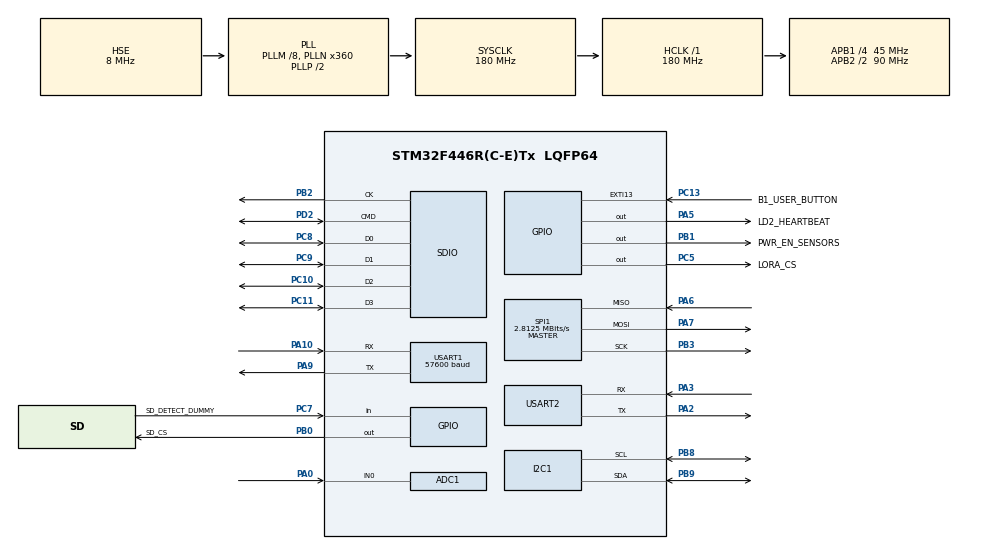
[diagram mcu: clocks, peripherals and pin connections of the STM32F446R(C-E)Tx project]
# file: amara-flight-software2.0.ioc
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ADC1.Channel-2\#ChannelRegularConversion=ADC_CHANNEL_VREFINT
ADC1.Channel-3\#ChannelRegularConversion=ADC_CHANNEL_TEMPSENSOR
ADC1.Channel-4\#ChannelRegularConversion=ADC_CHANNEL_0
ADC1.ContinuousConvMode=ENABLE
ADC1.DMAContinuousRequests=ENABLE
ADC1.EOCSelection=ADC_EOC_SEQ_CONV
ADC1.NbrOfConversion=3
ADC1.NbrOfConversionFlag=1
ADC1.Rank-2\#ChannelRegularConversion=1
ADC1.Rank-3\#ChannelRegularConversion=2
ADC1.Rank-4\#ChannelRegularConversion=3
ADC1.SamplingTime-2\#ChannelRegularConversion=ADC_SAMPLETIME_480CYCLES
ADC1.SamplingTime-3\#ChannelRegularConversion=ADC_SAMPLETIME_480CYCLES
ADC1.SamplingTime-4\#ChannelRegularConversion=ADC_SAMPLETIME_84CYCLES
ADC1.ScanConvMode=ENABLE
ADC1.master=1
Dma.ADC1.5.Direction=DMA_PERIPH_TO_MEMORY
Dma.ADC1.5.FIFOMode=DMA_FIFOMODE_DISABLE
Dma.ADC1.5.Instance=DMA2_Stream0
Dma.ADC1.5.MemDataAlignment=DMA_MDATAALIGN_HALFWORD
Dma.ADC1.5.MemInc=DMA_MINC_ENABLE
Dma.ADC1.5.Mode=DMA_CIRCULAR
Dma.ADC1.5.PeriphDataAlignment=DMA_PDATAALIGN_HALFWORD
Dma.ADC1.5.PeriphInc=DMA_PINC_DISABLE
Dma.ADC1.5.Priority=DMA_PRIORITY_LOW
Dma.I2C1_RX.2.Direction=DMA_PERIPH_TO_MEMORY
Dma.I2C1_RX.2.FIFOMode=DMA_FIFOMODE_DISABLE
Dma.I2C1_RX.2.Instance=DMA1_Stream0
Dma.I2C1_RX.2.MemDataAlignment=DMA_MDATAALIGN_BYTE
Dma.I2C1_RX.2.MemInc=DMA_MINC_ENABLE
Dma.I2C1_RX.2.Mode=DMA_NORMAL
Dma.I2C1_RX.2.PeriphDataAlignment=DMA_PDATAALIGN_BYTE
Dma.I2C1_RX.2.PeriphInc=DMA_PINC_DISABLE
Dma.I2C1_RX.2.Priority=DMA_PRIORITY_MEDIUM
Dma.Request0=USART1_RX
Dma.Request1=USART1_TX
Dma.Request2=I2C1_RX
Dma.Request3=SPI1_RX
Dma.Request4=SPI1_TX
Dma.Request5=ADC1
Dma.Request6=USART2_TX
Dma.SPI1_RX.3.Direction=DMA_PERIPH_TO_MEMORY
Dma.SPI1_RX.3.FIFOMode=DMA_FIFOMODE_DISABLE
Dma.SPI1_RX.3.Instance=DMA2_Stream2
Dma.SPI1_RX.3.MemDataAlignment=DMA_MDATAALIGN_BYTE
Dma.SPI1_RX.3.MemInc=DMA_MINC_ENABLE
Dma.SPI1_RX.3.Mode=DMA_NORMAL
Dma.SPI1_RX.3.PeriphDataAlignment=DMA_PDATAALIGN_BYTE
Dma.SPI1_RX.3.PeriphInc=DMA_PINC_DISABLE
Dma.SPI1_RX.3.Priority=DMA_PRIORITY_HIGH
Dma.SPI1_TX.4.Direction=DMA_MEMORY_TO_PERIPH
Dma.SPI1_TX.4.FIFOMode=DMA_FIFOMODE_DISABLE
Dma.SPI1_TX.4.Instance=DMA2_Stream3
Dma.SPI1_TX.4.MemDataAlignment=DMA_MDATAALIGN_BYTE
Dma.SPI1_TX.4.MemInc=DMA_MINC_ENABLE
Dma.SPI1_TX.4.Mode=DMA_NORMAL
Dma.SPI1_TX.4.PeriphDataAlignment=DMA_PDATAALIGN_BYTE
Dma.SPI1_TX.4.PeriphInc=DMA_PINC_DISABLE
Dma.SPI1_TX.4.Priority=DMA_PRIORITY_HIGH
Dma.USART1_RX.0.Direction=DMA_PERIPH_TO_MEMORY
Dma.USART1_RX.0.FIFOMode=DMA_FIFOMODE_DISABLE
Dma.USART1_RX.0.Instance=DMA2_Stream5
Dma.USART1_RX.0.MemDataAlignment=DMA_MDATAALIGN_BYTE
Dma.USART1_RX.0.MemInc=DMA_MINC_ENABLE
Dma.USART1_RX.0.Mode=DMA_CIRCULAR
Dma.USART1_RX.0.PeriphDataAlignment=DMA_PDATAALIGN_BYTE
Dma.USART1_RX.0.PeriphInc=DMA_PINC_DISABLE
Dma.USART1_RX.0.Priority=DMA_PRIORITY_VERY_HIGH
Dma.USART1_TX.1.Direction=DMA_MEMORY_TO_PERIPH
Dma.USART1_TX.1.FIFOMode=DMA_FIFOMODE_DISABLE
Dma.USART1_TX.1.Instance=DMA2_Stream7
Dma.USART1_TX.1.MemDataAlignment=DMA_MDATAALIGN_BYTE
Dma.USART1_TX.1.MemInc=DMA_MINC_ENABLE
Dma.USART1_TX.1.Mode=DMA_NORMAL
Dma.USART1_TX.1.PeriphDataAlignment=DMA_PDATAALIGN_BYTE
Dma.USART1_TX.1.PeriphInc=DMA_PINC_DISABLE
Dma.USART1_TX.1.Priority=DMA_PRIORITY_LOW
Dma.USART2_TX.6.Direction=DMA_MEMORY_TO_PERIPH
Dma.USART2_TX.6.FIFOMode=DMA_FIFOMODE_DISABLE
Dma.USART2_TX.6.Instance=DMA1_Stream6
Dma.USART2_TX.6.MemDataAlignment=DMA_MDATAALIGN_BYTE
Dma.USART2_TX.6.MemInc=DMA_MINC_ENABLE
Dma.USART2_TX.6.Mode=DMA_NORMAL
Dma.USART2_TX.6.PeriphDataAlignment=DMA_PDATAALIGN_BYTE
Dma.USART2_TX.6.PeriphInc=DMA_PINC_DISABLE
Dma.USART2_TX.6.Priority=DMA_PRIORITY_LOW
FATFS.BSP.number=1
FATFS._CODE_PAGE=437
FATFS._USE_LFN=3
FATFS0.BSP.STBoard=false
FATFS0.BSP.api=Unknown
FATFS0.BSP.instance=PC7
FATFS0.BSP.ip=GPIO
FATFS0.BSP.mode=Input
FATFS0.BSP.name=Detect_SDIO
FATFS0.BSP.solution=PC7
FREERTOS.Mutexes01=ConsoleMutex,Dynamic,NULL,Available;StorageMutex,Dynamic,NULL,Available
FREERTOS.Tasks01=CommTask,24,384,StartCommTask,Default,NULL,Dynamic,NULL,NULL;TelemetryRadioTask,24,384,StartTelemetryRadioTask,Default,NULL,Dynamic,NULL,NULL;HealthPowerTask,32,384,StartHealthPowerTask,Default,NULL,Dynamic,NULL,NULL;StorageLogTask,16,512,StartStorageLogTask,Default,NULL,Dynamic,NULL,NULL
FREERTOS.configCHECK_FOR_STACK_OVERFLOW=2
FREERTOS.configMAX_TASK_NAME_LEN=20
FREERTOS.configTOTAL_HEAP_SIZE=49152
FREERTOS.configUSE_NEWLIB_REENTRANT=1
I2C1.I2C_Mode=I2C_Fast
I2C1.NoStretchMode=I2C_NOSTRETCH_DISABLE
IWDG.Prescaler=IWDG_PRESCALER_64
IWDG.Reload=2048
Mcu.Family=STM32F4
Mcu.Name=STM32F446R(C-E)Tx
Mcu.Package=LQFP64
NVIC.DMA1_Stream0_IRQn=true\:5\:0\:false\:false\:true\:true\:false\:true\:true
NVIC.DMA1_Stream6_IRQn=true\:5\:0\:false\:false\:true\:true\:false\:true\:true
NVIC.DMA2_Stream0_IRQn=true\:8\:0\:true\:false\:true\:true\:false\:true\:true
NVIC.DMA2_Stream2_IRQn=true\:5\:0\:false\:false\:true\:true\:false\:true\:true
NVIC.DMA2_Stream3_IRQn=true\:5\:0\:false\:false\:true\:true\:false\:true\:true
NVIC.DMA2_Stream5_IRQn=true\:5\:0\:true\:false\:true\:true\:false\:true\:true
NVIC.DMA2_Stream7_IRQn=true\:5\:0\:false\:false\:true\:true\:false\:true\:true
NVIC.EXTI15_10_IRQn=true\:10\:0\:true\:false\:true\:true\:true\:true\:true
NVIC.I2C1_ER_IRQn=true\:8\:0\:true\:false\:true\:true\:true\:true\:true
NVIC.I2C1_EV_IRQn=true\:8\:0\:true\:false\:true\:true\:true\:true\:true
NVIC.PriorityGroup=NVIC_PRIORITYGROUP_4
NVIC.SPI1_IRQn=true\:7\:0\:true\:false\:true\:true\:true\:true\:true
NVIC.TIM1_UP_TIM10_IRQn=true\:15\:0\:true\:false\:true\:false\:false\:true\:true
NVIC.TIM2_IRQn=true\:5\:0\:false\:false\:true\:true\:true\:true\:true
NVIC.TimeBase=TIM1_UP_TIM10_IRQn
NVIC.TimeBaseIP=TIM1
NVIC.USART1_IRQn=true\:5\:0\:true\:false\:true\:true\:true\:true\:true
NVIC.USART2_IRQn=true\:5\:0\:false\:false\:true\:true\:true\:true\:true
PA0-WKUP.Signal=ADCx_IN0
PA10.Mode=Asynchronous
PA10.Signal=USART1_RX
PA13.Mode=Serial_Wire
PA13.Signal=SYS_JTMS-SWDIO
PA14.Mode=Serial_Wire
PA14.Signal=SYS_JTCK-SWCLK
PA2.Mode=Asynchronous
PA2.Signal=USART2_TX
PA3.Mode=Asynchronous
PA3.Signal=USART2_RX
PA5.GPIO_Label=LD2_HEARTBEAT
PA5.PinState=GPIO_PIN_RESET
PA5.Signal=GPIO_Output
PA6.Mode=Full_Duplex_Master
PA6.Signal=SPI1_MISO
PA7.Mode=Full_Duplex_Master
PA7.Signal=SPI1_MOSI
PA9.Mode=Asynchronous
PA9.Signal=USART1_TX
PB0.GPIO_Label=SD_CS
PB0.GPIO_PuPd=GPIO_PULLUP
PB0.GPIO_Speed=GPIO_SPEED_FREQ_HIGH
PB0.PinState=GPIO_PIN_SET
PB0.Signal=GPIO_Output
PB1.GPIO_Label=PWR_EN_SENSORS
PB1.GPIO_PuPd=GPIO_PULLDOWN
PB1.Signal=GPIO_Output
PB2.Mode=SD_4_bits_Wide_bus
PB2.Signal=SDIO_CK
PB3.Mode=Full_Duplex_Master
PB3.Signal=SPI1_SCK
PB8.Mode=I2C
PB8.Signal=I2C1_SCL
PB9.Mode=I2C
PB9.Signal=I2C1_SDA
PC10.Mode=SD_4_bits_Wide_bus
PC10.Signal=SDIO_D2
PC11.Mode=SD_4_bits_Wide_bus
PC11.Signal=SDIO_D3
PC13.GPIO_Label=B1_USER_BUTTON
PC13.GPIO_PuPd=GPIO_PULLUP
PC13.Signal=GPXTI13
PC14-OSC32_IN.Mode=LSE-External-Oscillator
PC14-OSC32_IN.Signal=RCC_OSC32_IN
PC15-OSC32_OUT.Mode=LSE-External-Oscillator
PC15-OSC32_OUT.Signal=RCC_OSC32_OUT
PC5.GPIO_Label=LORA_CS
PC5.Signal=GPIO_Output
PC7.GPIO_Label=SD_DETECT_DUMMY
PC7.Signal=GPIO_Input
PC8.Mode=SD_4_bits_Wide_bus
PC8.Signal=SDIO_D0
PC9.Mode=SD_4_bits_Wide_bus
PC9.Signal=SDIO_D1
PD2.Mode=SD_4_bits_Wide_bus
PD2.Signal=SDIO_CMD
PH0-OSC_IN.Mode=HSE-External-Oscillator
PH0-OSC_IN.Signal=RCC_OSC_IN
PH1-OSC_OUT.Mode=HSE-External-Oscillator
PH1-OSC_OUT.Signal=RCC_OSC_OUT
ProjectManager.HeapSize=0x200
ProjectManager.StackSize=0x400
ProjectManager.TargetToolchain=STM32CubeIDE
RCC.48MHZClocksFreq_Value=84000000
RCC.AHBFreq_Value=180000000
RCC.APB1CLKDivider=RCC_HCLK_DIV4
RCC.APB1Freq_Value=45000000
RCC.APB1TimFreq_Value=90000000
RCC.APB2CLKDivider=RCC_HCLK_DIV2
RCC.APB2Freq_Value=90000000
RCC.APB2TimFreq_Value=180000000
RCC.CortexFreq_Value=180000000
RCC.FLatency-AdvancedSettings=FLASH_LATENCY_5
RCC.HCLKFreq_Value=180000000
RCC.HSE_VALUE=8000000
RCC.HSI_VALUE=16000000
RCC.PLLM=8
RCC.PLLN=360
RCC.PLLQ=7
RCC.PLLR=7
RCC.PLLSAIM=8
RCC.PLLSAIP=RCC_PLLSAIP_DIV4
RCC.PLLSourceVirtual=RCC_PLLSOURCE_HSE
RCC.RCC_RTC_Clock_SourceVirtual=RCC_RTCCLKSOURCE_LSE
RCC.SYSCLKFreq_VALUE=180000000
RCC.SYSCLKSource=RCC_SYSCLKSOURCE_PLLCLK
RCC.USBCLockSelection=RCC_CLK48CLKSOURCE_PLLSAIP
RCC.USBFreq_Value=48000000
RCC.VCOOutputFreq_Value=360000000
SH.ADCx_IN0.0=ADC1_IN0,IN0
SPI1.BaudRatePrescaler=SPI_BAUDRATEPRESCALER_32
SPI1.CalculateBaudRate=2.8125 MBits/s
SPI1.Direction=SPI_DIRECTION_2LINES
SPI1.Mode=SPI_MODE_MASTER
SPI1.VirtualType=VM_MASTER
TIM2.AutoReloadPreload=TIM_AUTORELOAD_PRELOAD_ENABLE
TIM2.Prescaler=89
USART1.BaudRate=57600
USART1.VirtualMode=VM_ASYNC
USART2.VirtualMode=VM_ASYNC
VP_ADC1_TempSens_Input.Mode=IN-TempSens
VP_ADC1_Vref_Input.Mode=IN-Vrefint
VP_CRC_VS_CRC.Mode=CRC_Activate
VP_FATFS_VS_SDIO.Mode=SDIO
VP_FREERTOS_VS_CMSIS_V2.Mode=CMSIS_V2
VP_IWDG_VS_IWDG.Mode=IWDG_Activate
VP_RTC_VS_RTC_Activate.Mode=RTC_Enabled
VP_RTC_VS_RTC_Calendar.Mode=RTC_Calendar
VP_SYS_VS_tim1.Mode=TIM1
VP_TIM2_VS_ClockSourceINT.Mode=Internal
board=NUCLEO-F446RE

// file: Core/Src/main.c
/* USER CODE BEGIN Header */
/**
  ******************************************************************************
  * @file           : main.c
  * @brief          : Main program body
  ******************************************************************************
  * @attention
  *
  * Copyright (c) 2026 STMicroelectronics.
  * All rights reserved.
  *
  * This software is licensed under terms that can be found in the LICENSE file
  * in the root directory of this software component.
  * If no LICENSE file comes with this software, it is provided AS-IS.
  *
  ******************************************************************************
  */
/* USER CODE END Header */
#include "main.h"
#include "cmsis_os.h"
#include "adc.h"
#include "crc.h"
#include "dma.h"
#include "fatfs.h"
#include "i2c.h"
#include "iwdg.h"
#include "rtc.h"
#include "sdio.h"
#include "spi.h"
#include "tim.h"
#include "usart.h"
#include "gpio.h"

/* USER CODE BEGIN Includes */
#include <stdbool.h>
#include "Telemetry.h"
#include "ADC_Monitor.h"
#include "Logger.h"
#include "SPI_Bus.h"
#include "Ring_Buffer.h"
#include "UART_Driver.h"
#include "Command_Parser.h"
#include "I2C_Bus.h"
#include "OLED_Display.h"
#include "SX1278.h"
#include "G2S_Link.h"
#include "IPMS.h"
#include "Runtime_Resources.h"
#include "Runtime_State.h"
#include "System_Runtime.h"
/* USER CODE END Includes */

void SystemClock_Config(void);
void MX_FREERTOS_Init(void);
/* USER CODE BEGIN PFP */
void RTOS_NotifyCommTaskRxFromISR(void);

/* USER CODE END PFP */

  /**
   * @brief  Perform one-time board bring-up and hand control to the RTOS runtime.
   *
   * This function is the firmware boot boundary. It performs HAL startup, clock and
   * peripheral initialization, binds the shared runtime resource and hook structures,
   * initializes project-owned modules such as UART transport, telemetry, IPMS, radio,
   * ADC monitoring, and OLED support, then creates RTOS objects and starts the
   * scheduler. After osKernelStart() succeeds, periodic behavior is task-owned rather
   * than being driven from main().
   *
   * @retval int Unused. Execution is expected to remain under scheduler control.
   */
int main(void)
{

  /* MCU Configuration--------------------------------------------------------*/

  /* Reset of all peripherals, Initializes the Flash interface and the Systick. */
  HAL_Init();

  /* Configure the system clock */
  SystemClock_Config();

  /* Initialize all configured peripherals */
  MX_GPIO_Init();
  MX_DMA_Init();
  MX_SDIO_SD_Init();
  MX_USART1_UART_Init();
  MX_USART2_UART_Init();
  MX_I2C1_Init();
  MX_SPI1_Init();
  MX_ADC1_Init();
  MX_TIM2_Init();
  MX_CRC_Init();
  MX_IWDG_Init();
  MX_RTC_Init();
  MX_FATFS_Init();
  /* USER CODE BEGIN 2 */
  I2C_Bus_Handle_t *i2c_bus;
  OLED_HandleTypeDef *oled;
  SX1278_Handle_t *radio;
  G2S_Link_Handle_t *g2s_link;
  IPMS_Config_t *ipms_config;
  SystemRuntimeContext_t *runtime_context;
  SystemRuntimeHooks_t *runtime_hooks;

  RuntimeResources_Init();
  i2c_bus = RuntimeResources_GetI2CBus();
  oled = RuntimeResources_GetOled();
  radio = RuntimeResources_GetRadio();
  g2s_link = RuntimeResources_GetG2SLink();
  ipms_config = RuntimeResources_GetIpmsConfig();
  runtime_context = RuntimeResources_GetSystemRuntimeContext();
  runtime_hooks = RuntimeResources_GetSystemRuntimeHooks();

  *runtime_hooks = (SystemRuntimeHooks_t){
      .SystemClock_Config = SystemClock_Config,
      .MX_DMA_Init = MX_DMA_Init,
      .MX_USART1_UART_Init = MX_USART1_UART_Init,
      .MX_USART2_UART_Init = MX_USART2_UART_Init,
      .MX_I2C1_Init = MX_I2C1_Init,
      .MX_SPI1_Init = MX_SPI1_Init,
      .MX_ADC1_Init = MX_ADC1_Init,
      .MX_CRC_Init = MX_CRC_Init
  };
  RuntimeState_Init();

  UART_Driver_Status_t uart_status = UART_Driver_Init(&huart2);
  UART_Driver_Status_t telem_uart_status = UART_Driver_InitChannel(UART_DRIVER_CHANNEL_TELEMETRY, &huart1);
  CommandParser_Init();
  ADC_Monitor_Status_t adc_init_status = ADC_Monitor_Init(&hadc1);
  ADC_Monitor_Status_t adc_start_status = ADC_Monitor_Start();
  Telemetry_Init(&hcrc);
  Telemetry_SetDownlinkMode(TELEM_DOWNLINK_RADIO_WITH_UART_MIRROR);
  Telemetry_Status_t boot_telem_status = Telemetry_SendSystemStatusEx(0x01U);
  Telemetry_Status_t boot_event_status = Telemetry_SendEventEx(TELEM_EVENT_BOOT, HAL_GetTick());
  IPMS_GetDefaultConfig(ipms_config);
  IPMS_Status_t ipms_status = IPMS_Init(ipms_config);
  SX1278_Status_t radio_status = SX1278_Init(radio, &hspi1, LORA_CS_GPIO_Port, LORA_CS_Pin, NULL, 0U, false);
  G2S_Status_t g2s_status = G2S_Link_Init(g2s_link, radio, &hcrc);

  I2C_Status_t i2c_bus_status = I2C_Bus_Init(i2c_bus, &hi2c1);
  OLED_Status_t oled_status = OLED_STATUS_INVALID_PARAM;

  runtime_context->hrtc = &hrtc;
  runtime_context->hiwdg = &hiwdg;
  runtime_context->hadc = &hadc1;
  runtime_context->hi2c = &hi2c1;
  runtime_context->hspi = &hspi1;
  runtime_context->console_uart = &huart2;
  runtime_context->telemetry_uart = &huart1;
  runtime_context->i2c_bus = i2c_bus;
  runtime_context->oled = oled;
  runtime_context->radio = radio;

  if (i2c_bus_status == I2C_OK)
  {
    oled_status = OLED_Init(oled, i2c_bus, OLED_I2C_ADDR_0x3C);
    if (oled_status == OLED_STATUS_OK){

      OLED_Clear(oled);
      OLED_SetCursor(oled, 0U, 0U);
      OLED_WriteString(oled, "CubeSat FC", OLED_COLOR_WHITE);
      OLED_SetCursor(oled, 0U, 16U);
      OLED_WriteString(oled, "OLED OK", OLED_COLOR_WHITE);
      OLED_UpdateScreen(oled);

    }
  }

  Logger_Info("Initialization Complete");
  Logger_Info("CLI/Logger UART=USART2 @115200, Telemetry UART=USART1 @57600");
  Logger_Info("Startup status: UART=%s TELEM_UART=%s ADC_INIT=%s ADC_START=%s TELEM_BOOT=%s BOOT_EVT=%s IPMS=%s RADIO=%s G2S=%s I2C=%s OLED=%d",
		  UART_Driver_StatusToString(uart_status),
		  UART_Driver_StatusToString(telem_uart_status),
		  ADC_Monitor_StatusToString(adc_init_status),
		  ADC_Monitor_StatusToString(adc_start_status),
		  Telemetry_StatusToString(boot_telem_status),
		  Telemetry_StatusToString(boot_event_status),
      IPMS_StatusToString(ipms_status),
		  SX1278_StatusToString(radio_status),
		  G2S_StatusToString(g2s_status),
		  I2C_Bus_StatusToString(i2c_bus_status),
		  oled_status);
  Logger_Info("IPMS defaults: warn<=%.2f sleep<=%.2f stop<=%.2f policy=%s sim=%s",
              ipms_config->warn_enter_v,
              ipms_config->sleep_enter_v,
              ipms_config->stop_enter_v,
              IPMS_PolicyModeToString(IPMS_POLICY_MONITOR_ONLY),
              IPMS_SimulationModeToString(IPMS_SIMULATION_AUTO));
  Logger_Info("Telemetry downlink mode: %s", Telemetry_DownlinkModeToString(Telemetry_GetDownlinkMode()));

  /* USER CODE END 2 */

  /* Init scheduler */
  osKernelInitialize();  /* Call init function for freertos objects (in cmsis_os2.c) */
  MX_FREERTOS_Init();

  /* Start scheduler */
  osKernelStart();

  /* We should never get here as control is now taken by the scheduler */

  /* Infinite loop */
  while (1)
  {

    /* USER CODE BEGIN 3 */
    /* Runtime is owned by FreeRTOS tasks after osKernelStart(). */
  }
  /* USER CODE END 3 */
}

void SystemClock_Config(void)
{
  RCC_OscInitTypeDef RCC_OscInitStruct = {0};
  RCC_ClkInitTypeDef RCC_ClkInitStruct = {0};

  /** Configure the main internal regulator output voltage
  */
  __HAL_RCC_PWR_CLK_ENABLE();
  __HAL_PWR_VOLTAGESCALING_CONFIG(PWR_REGULATOR_VOLTAGE_SCALE1);

  /** Initializes the RCC Oscillators according to the specified parameters
  * in the RCC_OscInitTypeDef structure.
  */
  RCC_OscInitStruct.OscillatorType = RCC_OSCILLATORTYPE_LSI|RCC_OSCILLATORTYPE_HSE
                              |RCC_OSCILLATORTYPE_LSE;
  RCC_OscInitStruct.HSEState = RCC_HSE_ON;
  RCC_OscInitStruct.LSEState = RCC_LSE_ON;
  RCC_OscInitStruct.LSIState = RCC_LSI_ON;
  RCC_OscInitStruct.PLL.PLLState = RCC_PLL_ON;
  RCC_OscInitStruct.PLL.PLLSource = RCC_PLLSOURCE_HSE;
  RCC_OscInitStruct.PLL.PLLM = 8;
  RCC_OscInitStruct.PLL.PLLN = 360;
  RCC_OscInitStruct.PLL.PLLP = RCC_PLLP_DIV2;
  RCC_OscInitStruct.PLL.PLLQ = 7;
  RCC_OscInitStruct.PLL.PLLR = 7;
  if (HAL_RCC_OscConfig(&RCC_OscInitStruct) != HAL_OK)
  {
    Error_Handler();
  }

  /** Activate the Over-Drive mode
  */
  if (HAL_PWREx_EnableOverDrive() != HAL_OK)
  {
    Error_Handler();
  }

  /** Initializes the CPU, AHB and APB buses clocks
  */
  RCC_ClkInitStruct.ClockType = RCC_CLOCKTYPE_HCLK|RCC_CLOCKTYPE_SYSCLK
                              |RCC_CLOCKTYPE_PCLK1|RCC_CLOCKTYPE_PCLK2;
  RCC_ClkInitStruct.SYSCLKSource = RCC_SYSCLKSOURCE_PLLCLK;
  RCC_ClkInitStruct.AHBCLKDivider = RCC_SYSCLK_DIV1;
  RCC_ClkInitStruct.APB1CLKDivider = RCC_HCLK_DIV4;
  RCC_ClkInitStruct.APB2CLKDivider = RCC_HCLK_DIV2;

  if (HAL_RCC_ClockConfig(&RCC_ClkInitStruct, FLASH_LATENCY_5) != HAL_OK)
  {
    Error_Handler();
  }
}

/* USER CODE BEGIN 4 */
void HAL_UART_RxCpltCallback(UART_HandleTypeDef *huart)
{
    UART_RxCpltCallback(huart);
    RTOS_NotifyCommTaskRxFromISR();
}

void HAL_ADC_ConvCpltCallback(ADC_HandleTypeDef* hadc)
{
    ADC_Monitor_ConvCpltCallback(hadc);
}

void HAL_UART_TxCpltCallback(UART_HandleTypeDef *huart)
{
    if (huart == &huart1)
    {
        RuntimeState_RecordTelemetryTxComplete();
    }

    UART_TxCpltCallback(huart);
}

void HAL_UART_ErrorCallback(UART_HandleTypeDef *huart)
{
    if (huart == &huart1)
    {
        RuntimeState_RecordTelemetryError();
    }

    UART_ErrorCallback(huart);
}

void HAL_RTCEx_WakeUpTimerEventCallback(RTC_HandleTypeDef *hrtc_handle)
{
    (void)hrtc_handle;
    IPMS_OnRtcWakeup();
}

void HAL_GPIO_EXTI_Callback(uint16_t GPIO_Pin)
{
    if (GPIO_Pin == B1_USER_BUTTON_Pin)
    {
        IPMS_OnButtonWakeup();
    }
}

/* USER CODE END 4 */

void HAL_TIM_PeriodElapsedCallback(TIM_HandleTypeDef *htim)
{
  if (htim->Instance == TIM1)
  {
    HAL_IncTick();
  }
}

void Error_Handler(void)
{
  __disable_irq();
  while (1)
  {
  }
}

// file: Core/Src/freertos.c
/* USER CODE BEGIN Header */
/**
  ******************************************************************************
  * @file              freertos.c
  * @brief             FreeRTOS task creation and runtime task ownership.
  ******************************************************************************
  * @attention
  *
  * Copyright (c) 2026 STMicroelectronics.
  * All rights reserved.
  *
  * This software is licensed under terms that can be found in the LICENSE file
  * in the root directory of this software component.
  * If no LICENSE file comes with this software, it is provided AS-IS.
  *
  ******************************************************************************
  */
/* USER CODE END Header */

#include "FreeRTOS.h"
#include "task.h"
#include "main.h"
#include "cmsis_os.h"

/* USER CODE BEGIN Includes */
#include "Telemetry.h"
#include "ADC_Monitor.h"
#include "Logger.h"
#include "UART_Driver.h"
#include "Command_Parser.h"
#include "G2S_Link.h"
#include "SX1278.h"
#include "IPMS.h"
#include "Runtime_Resources.h"
#include "Storage_Service.h"
#include "Runtime_State.h"
#include "System_Runtime.h"
/* USER CODE END Includes */

/* USER CODE BEGIN PTD */
typedef enum {
    RTOS_TASK_ID_COMM = 0,
    RTOS_TASK_ID_TELEMETRY,
    RTOS_TASK_ID_HEALTH,
    RTOS_TASK_ID_STORAGE,
    RTOS_TASK_ID_COUNT
} RTOS_TaskId_t;

/* USER CODE END PTD */

/* USER CODE BEGIN PD */
#define RTOS_WATCHDOG_STARTUP_GRACE_MS   3000U
#define RTOS_WATCHDOG_COMM_TIMEOUT_MS     250U
#define RTOS_WATCHDOG_TELEM_TIMEOUT_MS    250U
#define RTOS_WATCHDOG_STORAGE_TIMEOUT_MS 1000U
#define RTOS_COMM_WAKE_FLAG            0x00000001U
#define RTOS_COMM_POLL_PERIOD_MS         5U
#define RTOS_TELEMETRY_TASK_PERIOD_MS   10U
#define RTOS_HEALTH_TASK_PERIOD_MS      20U
#define RTOS_TELEMETRY_DETAIL_PERIOD_MS 15000U

/* USER CODE END PD */

/* USER CODE BEGIN Variables */
extern IWDG_HandleTypeDef hiwdg;
static volatile uint32_t g_task_heartbeat_ms[RTOS_TASK_ID_COUNT] = {0U};
static uint32_t g_watchdog_supervision_start_ms = 0U;
static uint32_t g_watchdog_last_fault_mask = 0U;
/* USER CODE END Variables */
/* Definitions for CommTask */
osThreadId_t CommTaskHandle;
const osThreadAttr_t CommTask_attributes = {
  .name = "CommTask",
  .stack_size = 384 * 4,
  .priority = (osPriority_t) osPriorityNormal,
};
/* Definitions for TelemetryRadioTask */
osThreadId_t TelemetryRadioTaskHandle;
const osThreadAttr_t TelemetryRadioTask_attributes = {
  .name = "TelemetryRadioTask",
  .stack_size = 384 * 4,
  .priority = (osPriority_t) osPriorityNormal,
};
/* Definitions for HealthPowerTask */
osThreadId_t HealthPowerTaskHandle;
const osThreadAttr_t HealthPowerTask_attributes = {
  .name = "HealthPowerTask",
  .stack_size = 384 * 4,
  .priority = (osPriority_t) osPriorityAboveNormal,
};
/* Definitions for StorageLogTask */
osThreadId_t StorageLogTaskHandle;
const osThreadAttr_t StorageLogTask_attributes = {
  .name = "StorageLogTask",
  .stack_size = 512 * 4,
  .priority = (osPriority_t) osPriorityBelowNormal,
};
/* Definitions for ConsoleMutex */
osMutexId_t ConsoleMutexHandle;
const osMutexAttr_t ConsoleMutex_attributes = {
  .name = "ConsoleMutex"
};
/* Definitions for StorageMutex */
osMutexId_t StorageMutexHandle;
const osMutexAttr_t StorageMutex_attributes = {
  .name = "StorageMutex"
};

/* USER CODE BEGIN FunctionPrototypes */
static void RTOS_RunCommTaskCycle(void);
static void RTOS_RunTelemetryRadioTaskCycle(void);
static void RTOS_RunHealthPowerTaskCycle(void);
static void RTOS_MarkTaskAlive(RTOS_TaskId_t task_id);
static void RTOS_ResetTaskHeartbeats(uint32_t now);
static bool RTOS_WatchdogCanRefresh(uint32_t now, uint32_t *fault_mask);
static void RTOS_LogWatchdogFaultMask(uint32_t fault_mask);
void RTOS_NotifyCommTaskRxFromISR(void);
/* USER CODE END FunctionPrototypes */

void StartCommTask(void *argument);
void StartTelemetryRadioTask(void *argument);
void StartHealthPowerTask(void *argument);
void StartStorageLogTask(void *argument);

void MX_FREERTOS_Init(void); /* (MISRA C 2004 rule 8.1) */

/* Hook prototypes */
void vApplicationStackOverflowHook(xTaskHandle xTask, signed char *pcTaskName);

/* USER CODE BEGIN 4 */
/**
 * @brief Wake CommTask from ISR context when new UART RX work arrives.
 */
void RTOS_NotifyCommTaskRxFromISR(void)
{
    if ((osKernelGetState() == osKernelRunning) && (CommTaskHandle != NULL))
    {
        (void)osThreadFlagsSet(CommTaskHandle, RTOS_COMM_WAKE_FLAG);
    }
}

/**
 * @brief Record a heartbeat timestamp for one supervised task.
 */
static void RTOS_MarkTaskAlive(RTOS_TaskId_t task_id)
{
    if (task_id < RTOS_TASK_ID_COUNT)
    {
        g_task_heartbeat_ms[task_id] = HAL_GetTick();
    }
}

static void RTOS_ResetTaskHeartbeats(uint32_t now)
{
    uint32_t index;

    for (index = 0U; index < (uint32_t)RTOS_TASK_ID_COUNT; index++)
    {
        g_task_heartbeat_ms[index] = now;
    }

    g_watchdog_supervision_start_ms = now;
    g_watchdog_last_fault_mask = 0U;
}

static bool RTOS_WatchdogCanRefresh(uint32_t now, uint32_t *fault_mask)
{
    uint32_t local_fault_mask = 0U;

    if ((now - g_watchdog_supervision_start_ms) < RTOS_WATCHDOG_STARTUP_GRACE_MS)
    {
        if (fault_mask != NULL)
        {
            *fault_mask = 0U;
        }
        return true;
    }

    if ((now - g_task_heartbeat_ms[RTOS_TASK_ID_COMM]) > RTOS_WATCHDOG_COMM_TIMEOUT_MS)
    {
        local_fault_mask |= (1UL << RTOS_TASK_ID_COMM);
    }

    if ((now - g_task_heartbeat_ms[RTOS_TASK_ID_TELEMETRY]) > RTOS_WATCHDOG_TELEM_TIMEOUT_MS)
    {
        local_fault_mask |= (1UL << RTOS_TASK_ID_TELEMETRY);
    }

    if ((now - g_task_heartbeat_ms[RTOS_TASK_ID_STORAGE]) > RTOS_WATCHDOG_STORAGE_TIMEOUT_MS)
    {
        local_fault_mask |= (1UL << RTOS_TASK_ID_STORAGE);
    }

    if (fault_mask != NULL)
    {
        *fault_mask = local_fault_mask;
    }

    return (local_fault_mask == 0U);
}

static void RTOS_LogWatchdogFaultMask(uint32_t fault_mask)
{
    if ((fault_mask & (1UL << RTOS_TASK_ID_COMM)) != 0U)
    {
        Logger_Error("Watchdog withheld: CommTask heartbeat stale");
    }

    if ((fault_mask & (1UL << RTOS_TASK_ID_TELEMETRY)) != 0U)
    {
        Logger_Error("Watchdog withheld: TelemetryRadioTask heartbeat stale");
    }

    if ((fault_mask & (1UL << RTOS_TASK_ID_STORAGE)) != 0U)
    {
        Logger_Error("Watchdog withheld: StorageLogTask heartbeat stale");
    }
}

/**
 * @brief Run one communication cycle owned by CommTask.
 *
 * This helper keeps command ingress and communication egress tied to the task that
 * reacts to RX wakeups. One cycle services console command parsing, advances one G2S
 * radio receive/ack step, and gives the telemetry module one opportunity to progress
 * a queued frame through its transport state machine.
 */
static void RTOS_RunCommTaskCycle(void)
{
    G2S_Link_Handle_t *g2s_link = RuntimeResources_GetG2SLink();
    Telemetry_Status_t telemetry_status;

    CommandParser_Process();
    (void)G2S_Link_Process(g2s_link);
    telemetry_status = Telemetry_ProcessStep(g2s_link);
    if ((telemetry_status != TELEM_STATUS_OK) &&
        (telemetry_status != TELEM_STATUS_IDLE) &&
        (telemetry_status != TELEM_STATUS_TX_BUSY))
    {
        Logger_Warn("Telemetry transport step: %s", Telemetry_StatusToString(telemetry_status));
    }
}

/**
 * @brief Run one periodic telemetry and radio reporting cycle.
 *
 * This helper is the producer-side scheduler for recurring telemetry work. It does
 * not transmit frames directly; instead it decides when heartbeat, system-status,
 * ADC-health, and radio-health packets should be enqueued so the telemetry transport
 * owner can send them later from CommTask.
 */
static void RTOS_RunTelemetryRadioTaskCycle(void)
{
    static uint32_t last_telem_queue_ms = 0U;
    static uint32_t last_telem_report_ms = 0U;
    static uint32_t last_telem_detail_ms = 0U;
    static uint32_t last_radio_report_ms = 0U;
    static uint8_t telemetry_status_counter = 0U;
    uint32_t now = HAL_GetTick();

    if ((now - last_telem_queue_ms) >= 2000U)
    {
        uint8_t status_code = (uint8_t)(0x10U | (telemetry_status_counter & 0x0FU));
        Telemetry_Status_t queue_status = Telemetry_SendSystemStatusEx(status_code);

        Logger_Info("Telemetry queue attempt: result=%s status=0x%02X",
                    Telemetry_StatusToString(queue_status),
                    status_code);
        telemetry_status_counter++;
        last_telem_queue_ms = now;
    }

    if ((now - last_telem_report_ms) >= 3000U)
    {
        RuntimeTelemetryCounters_t telemetry_counters;
        TelemetryStats_t telem_stats;
        Logger_Stats_t logger_stats;
        Telemetry_Status_t heartbeat_status = Telemetry_SendHeartbeatEx();

        RuntimeState_GetTelemetryCounters(&telemetry_counters);
        Telemetry_GetStats(&telem_stats);
        Logger_GetStats(&logger_stats);

        Logger_Info("Telemetry runtime: dma_tx=%lu dma_err=%lu hb=%s log=%lu/%lu persist_drop=%lu last_uart=%s last_storage=%s",
                    (unsigned long)telemetry_counters.tx_complete_count,
                    (unsigned long)telemetry_counters.error_count,
                    Telemetry_StatusToString(heartbeat_status),
                    (unsigned long)logger_stats.messages_attempted,
                    (unsigned long)logger_stats.messages_dropped,
                    (unsigned long)logger_stats.messages_persist_dropped,
                    UART_Driver_StatusToString(logger_stats.last_uart_status),
                    StorageService_StatusToString(logger_stats.last_storage_status));

        if ((now - last_telem_detail_ms) >= RTOS_TELEMETRY_DETAIL_PERIOD_MS)
        {
            Logger_Info("Telemetry stats: depth=%u/%u peak=%u queued=%lu sent=%lu dropped=%lu tx_busy=%lu tx_err=%lu rtc_fallback=%lu pending=%u last_enq=%s last_proc=%s ts_src=%s mode=%s radio_sent=%lu uart_sent=%lu",
                        (unsigned int)telem_stats.queue_depth,
                        (unsigned int)telem_stats.queue_capacity,
                        (unsigned int)telem_stats.max_queue_depth,
                        (unsigned long)telem_stats.queued_frames,
                        (unsigned long)telem_stats.sent_frames,
                        (unsigned long)telem_stats.dropped_frames,
                        (unsigned long)telem_stats.tx_busy_retries,
                        (unsigned long)telem_stats.transport_errors,
                        (unsigned long)telem_stats.rtc_fallback_count,
                        (unsigned int)telem_stats.frame_pending,
                        Telemetry_StatusToString(telem_stats.last_enqueue_status),
                        Telemetry_StatusToString(telem_stats.last_process_status),
                        SystemRuntime_TelemetryTimestampSourceToString(telem_stats.last_timestamp_source),
                        Telemetry_DownlinkModeToString(telem_stats.downlink_mode),
                        (unsigned long)telem_stats.radio_sent_frames,
                        (unsigned long)telem_stats.uart_sent_frames);
            last_telem_detail_ms = now;
        }
        last_telem_report_ms = now;
    }

    if ((now - last_radio_report_ms) >= 4000U)
    {
        SX1278_Handle_t *radio = RuntimeResources_GetRadio();
        G2S_Link_Handle_t *g2s_link = RuntimeResources_GetG2SLink();
        G2S_Stats_t g2s_stats;
        uint8_t version = 0U;
        SX1278_Status_t version_status = SX1278_ReadVersion(radio, &version);

        G2S_Link_GetStats(g2s_link, &g2s_stats);
        Logger_Info("Radio/G2S: ver=%s/0x%02X mode=%d freq=%luHz rx=%lu tx=%lu crc_fail=%lu cmd=%lu ack=%lu unsupported=%lu cmd_fail=%lu last=%s next_seq=%u last_rx_seq=%u",
                    SX1278_StatusToString(version_status),
                    version,
                    (int)radio->state.mode,
                    (unsigned long)radio->state.frequency_hz,
                    (unsigned long)g2s_stats.rx_packets,
                    (unsigned long)g2s_stats.tx_packets,
                    (unsigned long)g2s_stats.crc_failures,
                    (unsigned long)g2s_stats.command_packets,
                    (unsigned long)g2s_stats.ack_packets,
                    (unsigned long)g2s_stats.unsupported_packets,
                    (unsigned long)g2s_stats.command_failures,
                    G2S_StatusToString(g2s_stats.last_status),
                    (unsigned int)g2s_stats.next_tx_sequence,
                    (unsigned int)g2s_stats.last_rx_sequence);
        last_radio_report_ms = now;
    }
}

/**
 * @brief Run one health, watchdog, ADC, and power-management cycle.
 *
 * This helper is the central runtime health supervisor. Each cycle drains queued
 * IPMS control requests, reports queued IPMS events, snapshots ADC data into runtime
 * state, feeds battery data into the IPMS state machine, emits health telemetry, and
 * either refreshes or withholds the watchdog according to per-task heartbeat
 * supervision. If IPMS arms a low-power action, this cycle also hands it to
 * System_Runtime for actual sleep or stop execution.
 */
static void RTOS_RunHealthPowerTaskCycle(void)
{
    static uint32_t last_heartbeat_ms = 0U;
    static uint32_t last_power_sample_ms = 0U;
    static uint32_t last_adc_report_ms = 0U;
    uint32_t now = HAL_GetTick();
    uint32_t fault_mask = 0U;
    IPMS_ActionRequest_t power_action;
    RuntimeIpmsControlRequest_t ipms_control_request;

    RTOS_MarkTaskAlive(RTOS_TASK_ID_HEALTH);

    if (RTOS_WatchdogCanRefresh(now, &fault_mask))
    {
        HAL_IWDG_Refresh(&hiwdg);
        if (g_watchdog_last_fault_mask != 0U)
        {
            Logger_Info("Watchdog supervision recovered");
            g_watchdog_last_fault_mask = 0U;
        }
    }
    else if (fault_mask != g_watchdog_last_fault_mask)
    {
        RTOS_LogWatchdogFaultMask(fault_mask);
        g_watchdog_last_fault_mask = fault_mask;
    }

    SystemRuntime_ReportIpmsEvents();

    while (RuntimeState_PopIpmsControlRequest(&ipms_control_request))
    {
        if (ipms_control_request.type == RUNTIME_IPMS_CONTROL_SET_SIMULATION_MODE)
        {
            IPMS_Status_t status = IPMS_SetSimulationMode(
                    (IPMS_SimulationMode_t)ipms_control_request.value,
                    ipms_control_request.timestamp_ms);
            Logger_Info("IPMS simulation request apply: mode=%s result=%s",
                        IPMS_SimulationModeToString((IPMS_SimulationMode_t)ipms_control_request.value),
                        IPMS_StatusToString(status));
        }
        else if (ipms_control_request.type == RUNTIME_IPMS_CONTROL_SET_POLICY_MODE)
        {
            IPMS_Status_t status = IPMS_SetPolicyMode(
                    (IPMS_PolicyMode_t)ipms_control_request.value,
                    ipms_control_request.timestamp_ms);
            Logger_Info("IPMS policy request apply: mode=%s result=%s",
                        IPMS_PolicyModeToString((IPMS_PolicyMode_t)ipms_control_request.value),
                        IPMS_StatusToString(status));
        }
    }

    if ((now - last_heartbeat_ms) >= 500U)
    {
        last_heartbeat_ms = now;
        HAL_GPIO_TogglePin(LD2_HEARTBEAT_GPIO_Port, LD2_HEARTBEAT_Pin);
    }

    if ((now - last_power_sample_ms) >= 1000U)
    {
        ADC_HealthData_t adc_sample;
        ADC_Monitor_Status_t adc_status = ADC_Monitor_GetData(&adc_sample);

        if (adc_status == ADC_MONITOR_OK)
        {
            RuntimeState_SetLatestAdcSample(&adc_sample);
            (void)IPMS_ProcessBatterySample(adc_sample.battery_voltage, now);
        }

        last_power_sample_ms = now;
    }

    if ((now - last_adc_report_ms) >= 5000U)
    {
        ADC_HealthData_t latest_adc_sample;

        if (RuntimeState_GetLatestAdcSample(&latest_adc_sample))
        {
            Telemetry_Status_t adc_telem_status = Telemetry_SendADCHealthEx(
                    latest_adc_sample.vdda_voltage,
                    latest_adc_sample.battery_voltage,
                    latest_adc_sample.mcu_temp_c);

            Logger_Info("ADC health: VDDA=%.3fV TEMP=%.2fC BATT=%.3fV queue=%s",
                        latest_adc_sample.vdda_voltage,
                        latest_adc_sample.mcu_temp_c,
                        latest_adc_sample.battery_voltage,
                        Telemetry_StatusToString(adc_telem_status));
        }
        else
        {
            Telemetry_Status_t adc_error_event = Telemetry_SendEventEx(
                    TELEM_EVENT_ADC_READ_ERROR,
                    (uint32_t)ADC_MONITOR_NOT_READY);

            Logger_Warn("ADC health unavailable: status=%s(%d)",
                        ADC_Monitor_StatusToString(ADC_MONITOR_NOT_READY),
                        ADC_MONITOR_NOT_READY);
            Logger_Warn("ADC error event queue: result=%s",
                        Telemetry_StatusToString(adc_error_event));
        }

        last_adc_report_ms = now;
    }

    if (IPMS_GetPendingAction(&power_action))
    {
        SystemRuntime_ExecuteIpmsAction(RuntimeResources_GetSystemRuntimeContext(),
                                       RuntimeResources_GetSystemRuntimeHooks(),
                                       &power_action);
        RTOS_ResetTaskHeartbeats(HAL_GetTick());
    }
}

void vApplicationStackOverflowHook(xTaskHandle xTask, signed char *pcTaskName)
{
   /* Run time stack overflow checking is performed if
   configCHECK_FOR_STACK_OVERFLOW is defined to 1 or 2. This hook function is
   called if a stack overflow is detected. */
}
/* USER CODE END 4 */

/**
  * @brief  Create RTOS-owned synchronization objects, services, and worker tasks.
  *
  * This is the scheduler-side construction boundary for the application runtime. It
  * initializes the storage service, resets task-heartbeat supervision state, creates
  * the mutexes used by shared services, and instantiates the four primary worker
  * tasks: CommTask, TelemetryRadioTask, HealthPowerTask, and StorageLogTask.
  * Periodic firmware behavior begins only after these objects are created and
  * osKernelStart() is called from main().
  *
  * @param  None
  * @retval None
  */
void MX_FREERTOS_Init(void) {
  /* USER CODE BEGIN Init */
  StorageService_Init();
  RTOS_ResetTaskHeartbeats(HAL_GetTick());

  /* USER CODE END Init */
  /* Create the mutex(es) */
  /* creation of ConsoleMutex */
  ConsoleMutexHandle = osMutexNew(&ConsoleMutex_attributes);

  /* creation of StorageMutex */
  StorageMutexHandle = osMutexNew(&StorageMutex_attributes);

  /* Create the thread(s) */
  /* creation of CommTask */
  CommTaskHandle = osThreadNew(StartCommTask, NULL, &CommTask_attributes);

  /* creation of TelemetryRadioTask */
  TelemetryRadioTaskHandle = osThreadNew(StartTelemetryRadioTask, NULL, &TelemetryRadioTask_attributes);

  /* creation of HealthPowerTask */
  HealthPowerTaskHandle = osThreadNew(StartHealthPowerTask, NULL, &HealthPowerTask_attributes);

  /* creation of StorageLogTask */
  StorageLogTaskHandle = osThreadNew(StartStorageLogTask, NULL, &StorageLogTask_attributes);

}

/* USER CODE BEGIN Header_StartCommTask */
/**
  * @brief  CommTask entrypoint for command ingress and communication progress.
  *
  * The task blocks on a thread flag set from UART RX ISR context, with a bounded
  * timeout so transport progress cannot stall indefinitely if no new bytes arrive.
  * On each wake it records a task heartbeat and runs RTOS_RunCommTaskCycle(), which
  * owns command parsing, G2S uplink processing, and one telemetry transport step.
  *
  * @param  argument Not used.
  * @retval None
  */
/* USER CODE END Header_StartCommTask */
void StartCommTask(void *argument)
{
  /* USER CODE BEGIN StartCommTask */
  /* Infinite loop */
  for(;;)
  {
    RTOS_MarkTaskAlive(RTOS_TASK_ID_COMM);
    (void)osThreadFlagsWait(RTOS_COMM_WAKE_FLAG, osFlagsWaitAny, RTOS_COMM_POLL_PERIOD_MS);
    RTOS_RunCommTaskCycle();
  }
  /* USER CODE END StartCommTask */
}

/* USER CODE BEGIN Header_StartTelemetryRadioTask */
/**
* @brief Periodic producer task for telemetry scheduling and radio health reporting.
*
* This task owns the cadence of recurring telemetry producers. It marks its heartbeat,
* runs RTOS_RunTelemetryRadioTaskCycle() once per period, and uses vTaskDelayUntil()
* so heartbeat and status production stay on a stable time base rather than drifting
* with execution time.
*
* @param argument Not used.
* @retval None
*/
/* USER CODE END Header_StartTelemetryRadioTask */
void StartTelemetryRadioTask(void *argument)
{
  /* USER CODE BEGIN StartTelemetryRadioTask */
  TickType_t last_wake_time = xTaskGetTickCount();

  /* Infinite loop */
  for(;;)
  {
    RTOS_MarkTaskAlive(RTOS_TASK_ID_TELEMETRY);
    RTOS_RunTelemetryRadioTaskCycle();
    vTaskDelayUntil(&last_wake_time, pdMS_TO_TICKS(RTOS_TELEMETRY_TASK_PERIOD_MS));
  }
  /* USER CODE END StartTelemetryRadioTask */
}

/* USER CODE BEGIN Header_StartHealthPowerTask */
/**
* @brief Periodic supervisor task for ADC health, IPMS, and watchdog decisions.
*
* This task owns the fixed-cadence health loop. It marks its heartbeat, executes
* RTOS_RunHealthPowerTaskCycle(), and delays with vTaskDelayUntil() so ADC/IPMS
* sampling, event reporting, and watchdog supervision occur at a predictable rate.
*
* @param argument Not used.
* @retval None
*/
/* USER CODE END Header_StartHealthPowerTask */
void StartHealthPowerTask(void *argument)
{
  /* USER CODE BEGIN StartHealthPowerTask */
  TickType_t last_wake_time = xTaskGetTickCount();

  /* Infinite loop */
  for(;;)
  {
    RTOS_RunHealthPowerTaskCycle();
    vTaskDelayUntil(&last_wake_time, pdMS_TO_TICKS(RTOS_HEALTH_TASK_PERIOD_MS));
  }
  /* USER CODE END StartHealthPowerTask */
}

/* USER CODE BEGIN Header_StartStorageLogTask */
/**
* @brief Serialized storage worker for log persistence and explicit SD requests.
*
* This task isolates potentially blocking FatFs/SD interactions from the rest of the
* runtime. It marks its heartbeat and services queued log records plus command-driven
* storage requests through the StorageService layer.
*
* @param argument Not used.
* @retval None
*/
/* USER CODE END Header_StartStorageLogTask */
void StartStorageLogTask(void *argument)
{
  /* USER CODE BEGIN StartStorageLogTask */
  for(;;)
  {
    RTOS_MarkTaskAlive(RTOS_TASK_ID_STORAGE);
    (void)StorageService_ProcessNext(250U);
  }
  /* USER CODE END StartStorageLogTask */
}
